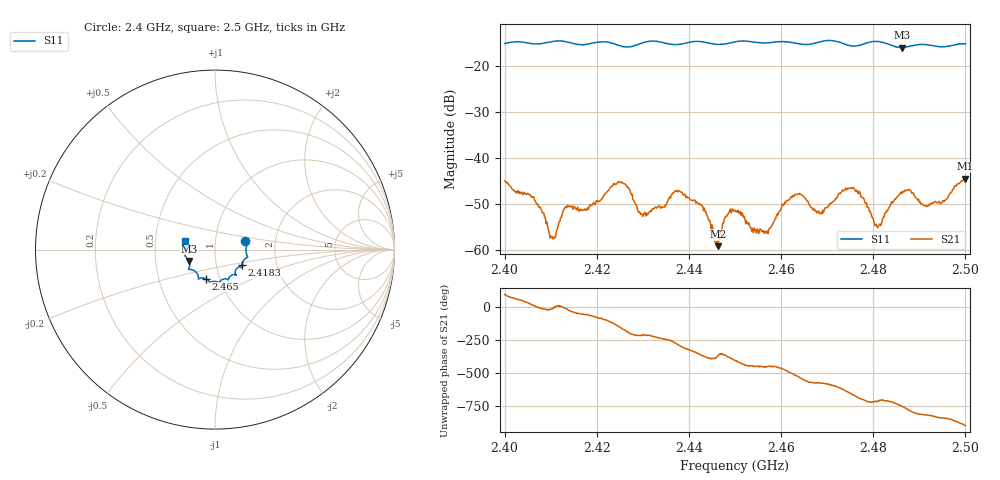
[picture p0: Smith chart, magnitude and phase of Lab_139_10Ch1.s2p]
# Hz S RI R 50
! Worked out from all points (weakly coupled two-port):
!   601 points, 2.4 GHz to 2.5 GHz, reference 50 ohm
!   highest |S21| = -44.52 dB at 2.5 GHz (marker M1); lowest = -59.2 dB at 2.4463 GHz (marker M2)
!   lowest |S11| = -16.0 dB at 2.4862 GHz (marker M3), VSWR 1.37, Z = 37.1 - j4.81 ohm
!   |S11| at or under -10 dB: start of sweep to end of sweep
!   S12 and S22 are empty: the file has one direction only
!   S11 on the Smith chart (normalised r, x): 2.4 GHz: 1.40, +0.13; 2.4183 GHz: 1.33, -0.24; 2.465 GHz: 0.86, -0.29; 2.5 GHz: 0.71, +0.07
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2.4e9  0.1691 0.0457  -0.000506 0.00559  0 0  0 0
2.406167e9  0.173 0.00678  0.0036 0.000941  0 0  0 0
2.410333e9  0.1799 -0.0363  0.00135 -0.000358  0 0  0 0
2.413333e9  0.1769 -0.045  0.00288 -0.000598  0 0  0 0
2.416667e9  0.155 -0.0683  0.00159 -0.00213  0 0  0 0
2.418333e9  0.1499 -0.0867  0.00126 -0.00262  0 0  0 0
2.425e9  0.134 -0.0967  -0.00478 -0.0024  0 0  0 0
2.4295e9  0.113 -0.1332  -0.00196 0.00143  0 0  0 0
2.433333e9  0.1169 -0.1412  -0.00169 0.00238  0 0  0 0
2.438167e9  0.0814 -0.1513  0.00192 0.00381  0 0  0 0
2.442833e9  0.0727 -0.1675  0.00304 -0.00042  0 0  0 0
2.446333e9  0.0499 -0.1633  0.00108 -0.000189  0 0  0 0
2.45e9  0.025 -0.1806  0.00188 -0.00192  0 0  0 0
2.456667e9  -0.00688 -0.1772  -0.000123 -0.00154  0 0  0 0
2.465e9  -0.0529 -0.1621  -0.0036 0.000995  0 0  0 0
2.466667e9  -0.0714 -0.1576  -0.00231 0.00168  0 0  0 0
2.475167e9  -0.103 -0.1287  0.00227 0.00403  0 0  0 0
2.480667e9  -0.1479 -0.1099  0.00189 4.99e-06  0 0  0 0
2.483333e9  -0.1421 -0.0959  0.00284 0.000124  0 0  0 0
2.486167e9  -0.1446 -0.0633  0.00337 -0.00226  0 0  0 0
2.491833e9  -0.1667 -0.0287  -0.000706 -0.0029  0 0  0 0
2.5e9  -0.1668 0.0471  -0.00594 0.000191  0 0  0 0
